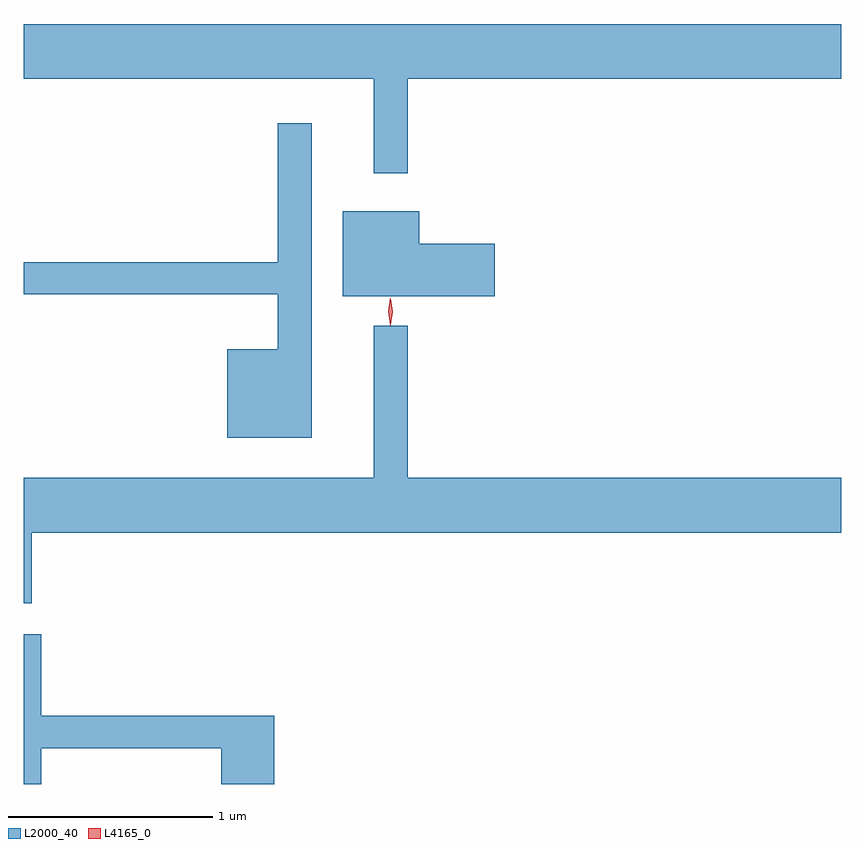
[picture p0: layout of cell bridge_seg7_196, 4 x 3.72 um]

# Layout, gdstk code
import gdstk
lib = gdstk.Library(unit=1e-6, precision=1e-09)
def P(c, l, *ps):  # polygons
    for p in ps: c.add(gdstk.Polygon(p, *l))
L2000_40 = (2000, 40)
L4165_0 = (4165, 0)

bridge_seg7_196 = lib.new_cell('bridge_seg7_196')
P(bridge_seg7_196, L2000_40, [(1530.789,1689.896),(1532.909,1689.896),(1532.909,1690.164),(1528.909,1690.164),(1528.909,1689.896),(1530.621,1689.896),(1530.621,1689.433),(1530.789,1689.433)],
  [(1530.319,1689.678),(1530.151,1689.678),(1530.151,1688.999),(1528.909,1688.999),(1528.909,1688.841),(1530.151,1688.841),(1530.151,1688.574),(1529.906,1688.574),(1529.906,1688.141),(1530.319,1688.141)],
  [(1531.214,1689.089),(1530.844,1689.089),(1530.844,1689.249),(1530.471,1689.249),(1530.471,1688.831),(1531.214,1688.831)],
  [(1528.949,1687.676),(1532.909,1687.676),(1532.909,1687.944),(1530.789,1687.944),(1530.789,1688.688),(1530.621,1688.688),(1530.621,1687.944),(1528.909,1687.944),(1528.909,1687.331),(1528.949,1687.331)],
  [(1528.994,1686.621),(1529.876,1686.621),(1529.876,1686.446),(1530.134,1686.446),(1530.134,1686.779),(1528.994,1686.779),(1528.994,1687.179),(1528.909,1687.179),(1528.909,1686.446),(1528.994,1686.446)])
P(bridge_seg7_196, L4165_0, [(1530.704,1688.693),(1530.703,1688.694),(1530.694,1688.756),(1530.703,1688.819),(1530.703,1688.82),(1530.704,1688.819),(1530.714,1688.756),(1530.704,1688.694)],
  [(1530.703,1688.69),(1530.693,1688.758),(1530.702,1688.826),(1530.702,1688.826),(1530.703,1688.826),(1530.713,1688.758),(1530.704,1688.69),(1530.704,1688.69)])

lib.write_gds('bridge_seg7_196.gds')
